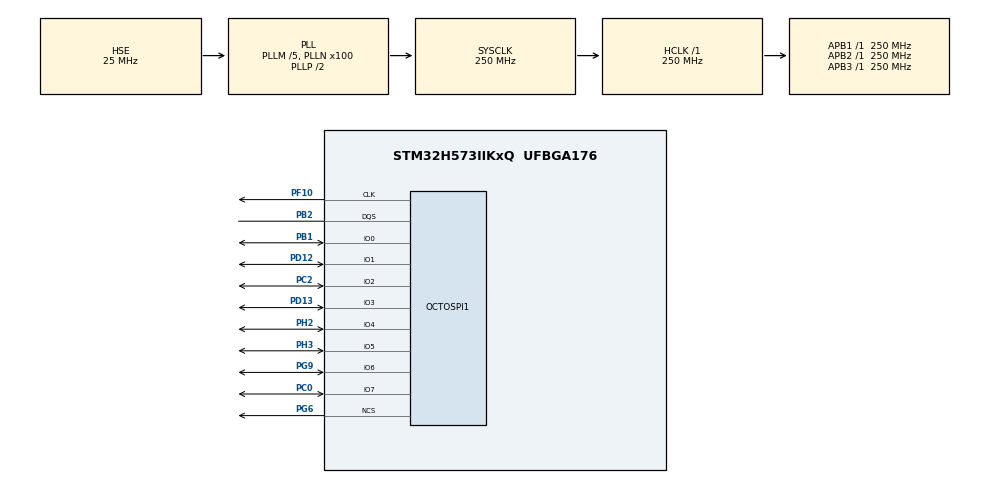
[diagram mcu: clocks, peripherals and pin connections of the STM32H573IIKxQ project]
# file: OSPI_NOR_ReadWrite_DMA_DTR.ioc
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CORTEX_M33_NS.userName=CORTEX_M33
GPDMA1.DESTDATAWIDTH_GPDMACH0=DMA_DEST_DATAWIDTH_WORD
GPDMA1.DESTDATAWIDTH_GPDMACH1=DMA_DEST_DATAWIDTH_WORD
GPDMA1.DESTINC_GPDMACH1=DMA_DINC_INCREMENTED
GPDMA1.DIRECTION_GPDMACH0=DMA_MEMORY_TO_PERIPH
GPDMA1.DMAHANDLE_GPDMACH0=hdmatx
GPDMA1.IPHANDLE_GPDMACH0-SIMPLEREQUEST_GPDMACH0=__NULL
GPDMA1.IPHANDLE_GPDMACH1-SIMPLEREQUEST_GPDMACH1=__NULL
GPDMA1.PRIORITY_GPDMACH0=DMA_LOW_PRIORITY_HIGH_WEIGHT
GPDMA1.REQUEST_GPDMACH0=GPDMA1_REQUEST_OCTOSPI1
GPDMA1.REQUEST_GPDMACH1=GPDMA1_REQUEST_OCTOSPI1
GPDMA1.SRCDATAWIDTH_GPDMACH0=DMA_SRC_DATAWIDTH_WORD
GPDMA1.SRCDATAWIDTH_GPDMACH1=DMA_SRC_DATAWIDTH_WORD
GPDMA1.SRCINC_GPDMACH0=DMA_SINC_INCREMENTED
GPDMA1.TRANSFERALLOCATEDPORTDEST_GPDMACH0=DMA_DEST_ALLOCATED_PORT1
GPDMA1.TRANSFERALLOCATEDPORTSRC_GPDMACH1=DMA_SRC_ALLOCATED_PORT1
Mcu.Family=STM32H5
Mcu.Name=STM32H573IIKxQ
Mcu.Package=UFBGA176
NVIC.GPDMA1_Channel0_IRQn=true\:0\:0\:false\:false\:true\:false\:true\:true
NVIC.GPDMA1_Channel1_IRQn=true\:0\:0\:false\:false\:true\:false\:true\:true
NVIC.OCTOSPI1_IRQn=true\:0\:0\:false\:false\:true\:true\:true\:true
NVIC.PriorityGroup=NVIC_PRIORITYGROUP_4
OCTOSPI1.ChipSelectHighTimeCycle=2
OCTOSPI1.ClockPrescaler=1
OCTOSPI1.DelayBlockBypass=HAL_XSPI_DELAY_BLOCK_ON
OCTOSPI1.DelayHoldQuarterCycle=HAL_XSPI_DHQC_ENABLE
OCTOSPI1.FifoThresholdByte=4
OCTOSPI1.MemorySize=HAL_XSPI_SIZE_8MB
OCTOSPI1.MemoryType=HAL_XSPI_MEMTYPE_MACRONIX
OCTOSPI1.PhaseSel=0
OCTOSPI1.Units=0
PB1.Mode=octods_mode
PB1.Signal=OCTOSPI1_IO0
PB2.Mode=octods_mode
PB2.Signal=OCTOSPI1_DQS
PC0.Mode=octods_mode
PC0.Signal=OCTOSPI1_IO7
PC2.Mode=octods_mode
PC2.Signal=OCTOSPI1_IO2
PD12.Mode=octods_mode
PD12.Signal=OCTOSPI1_IO1
PD13.Mode=octods_mode
PD13.Signal=OCTOSPI1_IO3
PF10.Mode=octods_mode
PF10.Signal=OCTOSPI1_CLK
PG6.Mode=octods_mode
PG6.Signal=OCTOSPI1_NCS
PG9.Mode=octods_mode
PG9.Signal=OCTOSPI1_IO6
PH0-OSC_IN(PH0).Mode=HSE-DIG-External-Clock-Source
PH0-OSC_IN(PH0).Signal=RCC_OSC_IN
PH2.Mode=octods_mode
PH2.Signal=OCTOSPI1_IO4
PH3.Mode=octods_mode
PH3.Signal=OCTOSPI1_IO5
ProjectManager.HeapSize=0x200
ProjectManager.StackSize=0x400
ProjectManager.TargetToolchain=EWARM V9.20
RCC.ADCFreq_Value=250000000
RCC.AHBFreq_Value=250000000
RCC.APB1Freq_Value=250000000
RCC.APB1TimFreq_Value=250000000
RCC.APB2Freq_Value=250000000
RCC.APB2TimFreq_Value=250000000
RCC.APB3Freq_Value=250000000
RCC.CSI_VALUE=4000000
RCC.CortexFreq_Value=250000000
RCC.EPOD_VALUE=25000000
RCC.HCLKFreq_Value=250000000
RCC.HSE_VALUE=25000000
RCC.HSI48_VALUE=48000000
RCC.HSIDiv=RCC_HSI_DIV1
RCC.HSI_VALUE=64000000
RCC.LSE_VALUE=32768
RCC.LSIRC_VALUE=32000
RCC.OCTOSPIMCLockSelection=RCC_OSPICLKSOURCE_PLL2R
RCC.PLL1Q=4
RCC.PLL2M=8
RCC.PLL2N=45
RCC.PLL2Source=RCC_PLL2_SOURCE_HSI
RCC.PLLM=5
RCC.PLLN=100
RCC.PLLSourceVirtual=RCC_PLL1_SOURCE_HSE
RCC.SYSCLKFreq_VALUE=250000000
RCC.SYSCLKSource=RCC_SYSCLKSOURCE_PLLCLK
RCC.USBFreq_Value=48000000
RCC.VCOOutputFreq_Value=500000000
VP_GPDMA1_VS_GPDMACH0.Mode=SIMPLEREQUEST_GPDMACH0
VP_GPDMA1_VS_GPDMACH1.Mode=SIMPLEREQUEST_GPDMACH1
VP_ICACHE_VS_ICACHE.Mode=DefaultMode
VP_PWR_VS_SECSignals.Mode=Security/Privilege
board=custom

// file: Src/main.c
/* USER CODE BEGIN Header */
/**
  ******************************************************************************
  * @file    Examples/DLYB/OSPI_NOR_ReadWrite_DMA_DTR/Src/main.c
  * @author  MCD Application Team
  * @brief   Main program body
  ******************************************************************************
  * @attention
  *
  * Copyright (c) 2023 STMicroelectronics.
  * All rights reserved.
  *
  * This software is licensed under terms that can be found in the LICENSE file
  * in the root directory of this software component.
  * If no LICENSE file comes with this software, it is provided AS-IS.
  *
  ******************************************************************************
  */
/* USER CODE END Header */
#include "main.h"

XSPI_HandleTypeDef hxspi1;
DMA_HandleTypeDef handle_GPDMA1_Channel1;
DMA_HandleTypeDef handle_GPDMA1_Channel0;

/* USER CODE BEGIN PV */
__IO uint8_t CmdCplt, RxCplt, TxCplt;

/* Buffer used for transmission */
uint8_t aTxBuffer[249] = " ****OSPI communication based on DMA****  ****OSPI communication based on DMA****  ****OSPI communication based on DMA****  ****OSPI communication based on DMA****  ****OSPI communication based on DMA****  ****OSPI communication based on DMA**** ";

/* Buffer used for reception */
uint8_t aRxBuffer[BUFFERSIZE];

LL_DLYB_CfgTypeDef dlyb_cfg,dlyb_cfg_test;
/* USER CODE END PV */

void SystemClock_Config(void);
static void MX_GPIO_Init(void);
static void MX_GPDMA1_Init(void);
static void MX_OCTOSPI1_Init(void);
static void MX_ICACHE_Init(void);
/* USER CODE BEGIN PFP */
static void OSPI_WriteEnable(XSPI_HandleTypeDef *hospi);
static void XSPI_AutoPollingMemReady(XSPI_HandleTypeDef *hospi);
static void OSPI_OctalDTRModeCfg(XSPI_HandleTypeDef *hospi);
/* USER CODE END PFP */

int main(void)
{

  /* USER CODE BEGIN 1 */
  /* STM32H5xx HAL library initialization:
       - Systick timer is configured by default as source of time base, but user
             can eventually implement his proper time base source (a general purpose
             timer for example or other time source), keeping in mind that Time base
             duration should be kept 1ms since PPP_TIMEOUT_VALUEs are defined and
             handled in milliseconds basis.
       - Set NVIC Group Priority to 4
       - Low Level Initialization
     */
  /* USER CODE END 1 */

  /* MCU Configuration--------------------------------------------------------*/

  /* Reset of all peripherals, Initializes the Flash interface and the Systick. */
  HAL_Init();

  /* USER CODE BEGIN Init */
  XSPI_RegularCmdTypeDef sCommand = {0};

  uint32_t address = 0;
  __IO uint8_t step = 0;
 uint16_t index;

  /* USER CODE END Init */

  /* Configure the system clock */
  SystemClock_Config();

  /* USER CODE BEGIN SysInit */
  BSP_LED_Init(LED_GREEN);
  BSP_LED_Init(LED_RED);
  /* USER CODE END SysInit */

  /* Initialize all configured peripherals */
  MX_GPIO_Init();
  MX_GPDMA1_Init();
  MX_OCTOSPI1_Init();
  MX_ICACHE_Init();
  /* USER CODE BEGIN 2 */
  /* Delay block configuration ------------------------------------------------ */
  if (HAL_XSPI_DLYB_GetClockPeriod(&hxspi1,&dlyb_cfg) != HAL_OK)
  {
    BSP_LED_On(LED_RED);
  }

  /*when DTR, PhaseSel is divided by 4 (emperic value)*/
  dlyb_cfg.PhaseSel /=4;

  /* save the present configuration for check*/
  dlyb_cfg_test = dlyb_cfg;

  /*set delay block configuration*/
  HAL_XSPI_DLYB_SetConfig(&hxspi1,&dlyb_cfg);

  /*check the set value*/
  HAL_XSPI_DLYB_GetConfig(&hxspi1,&dlyb_cfg);
  if ((dlyb_cfg.PhaseSel != dlyb_cfg_test.PhaseSel) || (dlyb_cfg.Units != dlyb_cfg_test.Units))
  {
    BSP_LED_On(LED_RED);
  }

  /* Configure the memory in octal mode ------------------------------------- */
  OSPI_OctalDTRModeCfg(&hxspi1);

  sCommand.InstructionMode     = HAL_XSPI_INSTRUCTION_8_LINES;
  sCommand.InstructionWidth    = HAL_XSPI_INSTRUCTION_16_BITS;
  sCommand.InstructionDTRMode  = HAL_XSPI_INSTRUCTION_DTR_ENABLE;
  sCommand.AddressWidth        = HAL_XSPI_ADDRESS_32_BITS;
  sCommand.AddressDTRMode      = HAL_XSPI_ADDRESS_DTR_ENABLE;
  sCommand.AlternateBytesMode  = HAL_XSPI_ALT_BYTES_NONE;
  sCommand.DataDTRMode         = HAL_XSPI_DATA_DTR_ENABLE;
  sCommand.SIOOMode            = HAL_XSPI_SIOO_INST_EVERY_CMD;

  /* USER CODE END 2 */

  /* Infinite loop */
  /* USER CODE BEGIN WHILE */
  while (1)
  {
    switch(step)
    {
    case 0:

      CmdCplt = 0;

      /* Enable write operations ------------------------------------------ */
      OSPI_WriteEnable(&hxspi1);

      /* Erasing Sequence ------------------------------------------------- */
      sCommand.OperationType = HAL_XSPI_OPTYPE_COMMON_CFG;
      sCommand.Instruction   = OCTAL_SECTOR_ERASE_CMD;
      sCommand.AddressMode   = HAL_XSPI_ADDRESS_8_LINES;
      sCommand.Address       = address;
      sCommand.DataMode      = HAL_XSPI_DATA_NONE;
      sCommand.DummyCycles   = 0;
      sCommand.DQSMode       = HAL_XSPI_DQS_DISABLE;

      if (HAL_XSPI_Command_IT(&hxspi1, &sCommand) != HAL_OK)
      {
        Error_Handler();
      }

      step++;
      break;
    case 1:
      if(CmdCplt != 0)
      {
          CmdCplt = 0;
          TxCplt = 0;

          /* Configure automatic polling mode to wait for end of erase ------ */
          XSPI_AutoPollingMemReady(&hxspi1);

          /* Enable write operations ---------------------------------------- */
          OSPI_WriteEnable(&hxspi1);

          /* Writing Sequence ----------------------------------------------- */
          sCommand.Instruction = OCTAL_PAGE_PROG_CMD;
          sCommand.DataMode    = HAL_XSPI_DATA_8_LINES;
          sCommand.DataLength  = BUFFERSIZE;

          if (HAL_XSPI_Command(&hxspi1, &sCommand, HAL_XSPI_TIMEOUT_DEFAULT_VALUE) != HAL_OK)
          {
            Error_Handler();
          }

          if (HAL_XSPI_Transmit_DMA(&hxspi1, aTxBuffer) != HAL_OK)
          {
            Error_Handler();
          }

          step++;
        }
        break;

      case 2:
        if(TxCplt != 0)
        {
          TxCplt = 0;
          RxCplt = 0;

          /* Configure automatic polling mode to wait for end of program ---- */
          XSPI_AutoPollingMemReady(&hxspi1);

          /* Reading Sequence ----------------------------------------------- */
          sCommand.Instruction = OCTAL_IO_DTR_READ_CMD;
          sCommand.DummyCycles = DUMMY_CLOCK_CYCLES_READ;
          sCommand.DQSMode     = HAL_XSPI_DQS_ENABLE;

          if (HAL_XSPI_Command(&hxspi1, &sCommand, HAL_XSPI_TIMEOUT_DEFAULT_VALUE) != HAL_OK)
          {
            Error_Handler();
          }

          if (HAL_XSPI_Receive_DMA(&hxspi1, aRxBuffer) != HAL_OK)
          {
            Error_Handler();
          }
          step++;
        }
        break;

      case 3:
        if (RxCplt != 0)
        {
          RxCplt = 0;

          /* Result comparison ----------------------------------------------- */
          for (index = 0; index < BUFFERSIZE; index++)
          {
            if (aRxBuffer[index] != aTxBuffer[index])
            {
              BSP_LED_On(LED2);
            }
          }
          BSP_LED_Toggle(LED1);
          HAL_Delay(50);

          address += OSPI_PAGE_SIZE;
          if(address >= OSPI_END_ADDR)
          {
            address = 0;
          }
          step = 0;
        }
        break;

      default :
        Error_Handler();
    }
    /* USER CODE END WHILE */

  }
}

void SystemClock_Config(void)
{
  RCC_OscInitTypeDef RCC_OscInitStruct = {0};
  RCC_ClkInitTypeDef RCC_ClkInitStruct = {0};

  /** Configure the main internal regulator output voltage
  */
  __HAL_PWR_VOLTAGESCALING_CONFIG(PWR_REGULATOR_VOLTAGE_SCALE0);

  while(!__HAL_PWR_GET_FLAG(PWR_FLAG_VOSRDY)) {}

  /** Initializes the RCC Oscillators according to the specified parameters
  * in the RCC_OscInitTypeDef structure.
  */
  RCC_OscInitStruct.OscillatorType = RCC_OSCILLATORTYPE_HSI|RCC_OSCILLATORTYPE_HSE;
  RCC_OscInitStruct.HSEState = RCC_HSE_BYPASS_DIGITAL;
  RCC_OscInitStruct.HSIState = RCC_HSI_ON;
  RCC_OscInitStruct.HSIDiv = RCC_HSI_DIV1;
  RCC_OscInitStruct.HSICalibrationValue = RCC_HSICALIBRATION_DEFAULT;
  RCC_OscInitStruct.PLL.PLLState = RCC_PLL_ON;
  RCC_OscInitStruct.PLL.PLLSource = RCC_PLL1_SOURCE_HSE;
  RCC_OscInitStruct.PLL.PLLM = 5;
  RCC_OscInitStruct.PLL.PLLN = 100;
  RCC_OscInitStruct.PLL.PLLP = 2;
  RCC_OscInitStruct.PLL.PLLQ = 4;
  RCC_OscInitStruct.PLL.PLLR = 2;
  RCC_OscInitStruct.PLL.PLLRGE = RCC_PLL1_VCIRANGE_2;
  RCC_OscInitStruct.PLL.PLLVCOSEL = RCC_PLL1_VCORANGE_WIDE;
  RCC_OscInitStruct.PLL.PLLFRACN = 0;
  if (HAL_RCC_OscConfig(&RCC_OscInitStruct) != HAL_OK)
  {
    Error_Handler();
  }

  /** Initializes the CPU, AHB and APB buses clocks
  */
  RCC_ClkInitStruct.ClockType = RCC_CLOCKTYPE_HCLK|RCC_CLOCKTYPE_SYSCLK
                              |RCC_CLOCKTYPE_PCLK1|RCC_CLOCKTYPE_PCLK2
                              |RCC_CLOCKTYPE_PCLK3;
  RCC_ClkInitStruct.SYSCLKSource = RCC_SYSCLKSOURCE_PLLCLK;
  RCC_ClkInitStruct.AHBCLKDivider = RCC_SYSCLK_DIV1;
  RCC_ClkInitStruct.APB1CLKDivider = RCC_HCLK_DIV1;
  RCC_ClkInitStruct.APB2CLKDivider = RCC_HCLK_DIV1;
  RCC_ClkInitStruct.APB3CLKDivider = RCC_HCLK_DIV1;

  if (HAL_RCC_ClockConfig(&RCC_ClkInitStruct, FLASH_LATENCY_5) != HAL_OK)
  {
    Error_Handler();
  }

  /** Configure the programming delay
  */
  __HAL_FLASH_SET_PROGRAM_DELAY(FLASH_PROGRAMMING_DELAY_2);
}

static void MX_GPDMA1_Init(void)
{

  /* Peripheral clock enable */
  __HAL_RCC_GPDMA1_CLK_ENABLE();

  /* GPDMA1 interrupt Init */
    HAL_NVIC_SetPriority(GPDMA1_Channel0_IRQn, 0, 0);
    HAL_NVIC_EnableIRQ(GPDMA1_Channel0_IRQn);
    HAL_NVIC_SetPriority(GPDMA1_Channel1_IRQn, 0, 0);
    HAL_NVIC_EnableIRQ(GPDMA1_Channel1_IRQn);

}

static void MX_ICACHE_Init(void)
{

  /** Enable instruction cache (default 2-ways set associative cache)
  */
  if (HAL_ICACHE_Enable() != HAL_OK)
  {
    Error_Handler();
  }

}

static void MX_OCTOSPI1_Init(void)
{

  HAL_XSPI_DLYB_CfgTypeDef HAL_XSPI_DLYB_Cfg_Struct = {0};

  /* OCTOSPI1 parameter configuration*/
  hxspi1.Instance = OCTOSPI1;
  hxspi1.Init.FifoThresholdByte = 4;
  hxspi1.Init.MemoryMode = HAL_XSPI_SINGLE_MEM;
  hxspi1.Init.MemoryType = HAL_XSPI_MEMTYPE_MACRONIX;
  hxspi1.Init.MemorySize = HAL_XSPI_SIZE_8MB;
  hxspi1.Init.ChipSelectHighTimeCycle = 2;
  hxspi1.Init.FreeRunningClock = HAL_XSPI_FREERUNCLK_DISABLE;
  hxspi1.Init.ClockMode = HAL_XSPI_CLOCK_MODE_0;
  hxspi1.Init.WrapSize = HAL_XSPI_WRAP_NOT_SUPPORTED;
  hxspi1.Init.ClockPrescaler = 1;
  hxspi1.Init.SampleShifting = HAL_XSPI_SAMPLE_SHIFT_NONE;
  hxspi1.Init.DelayHoldQuarterCycle = HAL_XSPI_DHQC_ENABLE;
  hxspi1.Init.ChipSelectBoundary = HAL_XSPI_BONDARYOF_NONE;
  hxspi1.Init.DelayBlockBypass = HAL_XSPI_DELAY_BLOCK_ON;
  hxspi1.Init.Refresh = 0;
  if (HAL_XSPI_Init(&hxspi1) != HAL_OK)
  {
    Error_Handler();
  }
  HAL_XSPI_DLYB_Cfg_Struct.Units = 0;
  HAL_XSPI_DLYB_Cfg_Struct.PhaseSel = 0;
  if (HAL_XSPI_DLYB_SetConfig(&hxspi1, &HAL_XSPI_DLYB_Cfg_Struct) != HAL_OK)
  {
    Error_Handler();
  }

}

static void MX_GPIO_Init(void)
{

  /* GPIO Ports Clock Enable */
  __HAL_RCC_GPIOG_CLK_ENABLE();
  __HAL_RCC_GPIOH_CLK_ENABLE();
  __HAL_RCC_GPIOF_CLK_ENABLE();
  __HAL_RCC_GPIOC_CLK_ENABLE();
  __HAL_RCC_GPIOD_CLK_ENABLE();
  __HAL_RCC_GPIOB_CLK_ENABLE();

}

/* USER CODE BEGIN 4 */
/**
  * @brief  Command completed callback.
  * @param  hospi: OSPI handle
  * @retval None
  */
void HAL_XSPI_CmdCpltCallback(XSPI_HandleTypeDef *hospi)
{
  CmdCplt++;
}

/**
  * @brief  Rx Transfer completed callback.
  * @param  hospi: OSPI handle
  * @retval None
  */
void HAL_XSPI_RxCpltCallback(XSPI_HandleTypeDef *hospi)
{
  RxCplt++;
}

/**
  * @brief  Tx Transfer completed callback.
  * @param  hospi: OSPI handle
  * @retval None
  */
 void HAL_XSPI_TxCpltCallback(XSPI_HandleTypeDef *hospi)
{
  TxCplt++;
}

/**
  * @brief  Transfer Error callback.
  * @param  hospi: OSPI handle
  * @retval None
  */
void HAL_XSPI_ErrorCallback(XSPI_HandleTypeDef *hospi)
{
  Error_Handler();
}

/**
* @brief  This function send a Write Enable and wait it is effective.
* @param  hospi: OSPI handle
* @retval None
*/
static void OSPI_WriteEnable(XSPI_HandleTypeDef *hospi)
{
  XSPI_RegularCmdTypeDef  sCommand ={0};
  XSPI_AutoPollingTypeDef sConfig  ={0};

  /* Enable write operations ------------------------------------------ */
  sCommand.OperationType      = HAL_XSPI_OPTYPE_COMMON_CFG;
  sCommand.Instruction        = OCTAL_WRITE_ENABLE_CMD;
  sCommand.InstructionMode    = HAL_XSPI_INSTRUCTION_8_LINES;
  sCommand.InstructionWidth   = HAL_XSPI_INSTRUCTION_16_BITS;
  sCommand.InstructionDTRMode = HAL_XSPI_INSTRUCTION_DTR_ENABLE;
  sCommand.AddressMode        = HAL_XSPI_ADDRESS_NONE;
  sCommand.AlternateBytesMode = HAL_XSPI_ALT_BYTES_NONE;
  sCommand.DataMode           = HAL_XSPI_DATA_NONE;
  sCommand.DummyCycles        = 0;
  sCommand.DQSMode            = HAL_XSPI_DQS_DISABLE;
  sCommand.SIOOMode           = HAL_XSPI_SIOO_INST_EVERY_CMD;

  if (HAL_XSPI_Command(hospi, &sCommand, HAL_XSPI_TIMEOUT_DEFAULT_VALUE) != HAL_OK)
  {
    Error_Handler();
  }

  /* Configure automatic polling mode to wait for write enabling ---- */
  sCommand.Instruction    = OCTAL_READ_STATUS_REG_CMD;
  sCommand.Address        = 0x0;
  sCommand.AddressMode    = HAL_XSPI_ADDRESS_8_LINES;
  sCommand.AddressWidth   = HAL_XSPI_ADDRESS_32_BITS;
  sCommand.AddressDTRMode = HAL_XSPI_ADDRESS_DTR_ENABLE;
  sCommand.DataMode       = HAL_XSPI_DATA_8_LINES;
  sCommand.DataDTRMode    = HAL_XSPI_DATA_DTR_ENABLE;
  sCommand.DataLength         = 2;
  sCommand.DummyCycles    = DUMMY_CLOCK_CYCLES_READ_REG;
  sCommand.DQSMode        = HAL_XSPI_DQS_ENABLE;

  if (HAL_XSPI_Command(hospi, &sCommand, HAL_XSPI_TIMEOUT_DEFAULT_VALUE) != HAL_OK)
  {
    Error_Handler();
  }

  sConfig.MatchValue    = WRITE_ENABLE_MATCH_VALUE;
  sConfig.MatchMask     = WRITE_ENABLE_MASK_VALUE;
  sConfig.MatchMode     = HAL_XSPI_MATCH_MODE_AND;
  sConfig.IntervalTime           = AUTO_POLLING_INTERVAL;
  sConfig.AutomaticStop = HAL_XSPI_AUTOMATIC_STOP_ENABLE;

  if (HAL_XSPI_AutoPolling(hospi, &sConfig, HAL_XSPI_TIMEOUT_DEFAULT_VALUE) != HAL_OK)
  {
    Error_Handler();
  }
}

/**
* @brief  This function read the SR of the memory and wait the EOP.
* @param  hospi: OSPI handle
* @retval None
*/
static void XSPI_AutoPollingMemReady(XSPI_HandleTypeDef *hospi)
{
  XSPI_RegularCmdTypeDef  sCommand = {0};
  XSPI_AutoPollingTypeDef sConfig = {0};

  /* Configure automatic polling mode to wait for memory ready ------ */
  sCommand.OperationType      = HAL_XSPI_OPTYPE_COMMON_CFG;

  sCommand.Instruction        = OCTAL_READ_STATUS_REG_CMD;
  sCommand.InstructionMode    = HAL_XSPI_INSTRUCTION_8_LINES;
  sCommand.InstructionWidth   = HAL_XSPI_INSTRUCTION_16_BITS;
  sCommand.InstructionDTRMode = HAL_XSPI_INSTRUCTION_DTR_ENABLE;
  sCommand.Address            = 0x0;
  sCommand.AddressMode        = HAL_XSPI_ADDRESS_8_LINES;
  sCommand.AddressWidth       = HAL_XSPI_ADDRESS_32_BITS;
  sCommand.AddressDTRMode     = HAL_XSPI_ADDRESS_DTR_ENABLE;
  sCommand.AlternateBytesMode = HAL_XSPI_ALT_BYTES_NONE;
  sCommand.DataMode           = HAL_XSPI_DATA_8_LINES;
  sCommand.DataDTRMode        = HAL_XSPI_DATA_DTR_ENABLE;
  sCommand.DataLength         = 2;
  sCommand.DummyCycles        = DUMMY_CLOCK_CYCLES_READ_REG;
  sCommand.DQSMode            = HAL_XSPI_DQS_ENABLE;
  sCommand.SIOOMode           = HAL_XSPI_SIOO_INST_EVERY_CMD;

  if (HAL_XSPI_Command(hospi, &sCommand, HAL_XSPI_TIMEOUT_DEFAULT_VALUE) != HAL_OK)
  {
    Error_Handler();
  }

  sConfig.MatchValue         = MEMORY_READY_MATCH_VALUE;
  sConfig.MatchMask          = MEMORY_READY_MASK_VALUE;
  sConfig.MatchMode          = HAL_XSPI_MATCH_MODE_AND;
  sConfig.IntervalTime       = AUTO_POLLING_INTERVAL;
  sConfig.AutomaticStop      = HAL_XSPI_AUTOMATIC_STOP_ENABLE;

  if (HAL_XSPI_AutoPolling(hospi, &sConfig, HAL_XSPI_TIMEOUT_DEFAULT_VALUE) != HAL_OK)
  {
    Error_Handler();
  }
}

/**
* @brief  This function configure the memory in Octal DTR mode.
* @param  hospi: OSPI handle
* @retval None
*/
static void OSPI_OctalDTRModeCfg(XSPI_HandleTypeDef *hospi)
{
  XSPI_RegularCmdTypeDef  sCommand ={0};
  XSPI_AutoPollingTypeDef sConfig ={0};
  uint8_t reg;

  /* Enable write operations ---------------------------------------- */
  sCommand.OperationType      = HAL_XSPI_OPTYPE_COMMON_CFG;

  sCommand.Instruction        = WRITE_ENABLE_CMD;
  sCommand.InstructionMode    = HAL_XSPI_INSTRUCTION_1_LINE;
  sCommand.InstructionWidth   = HAL_XSPI_INSTRUCTION_8_BITS;
  sCommand.InstructionDTRMode = HAL_XSPI_INSTRUCTION_DTR_DISABLE;
  sCommand.AddressMode        = HAL_XSPI_ADDRESS_NONE;
  sCommand.AlternateBytesMode = HAL_XSPI_ALT_BYTES_NONE;
  sCommand.DataMode           = HAL_XSPI_DATA_NONE;
  sCommand.DummyCycles        = 0;
  sCommand.DQSMode            = HAL_XSPI_DQS_DISABLE;
  sCommand.SIOOMode           = HAL_XSPI_SIOO_INST_EVERY_CMD;

  if (HAL_XSPI_Command(hospi, &sCommand, HAL_XSPI_TIMEOUT_DEFAULT_VALUE) != HAL_OK)
  {
    Error_Handler();
  }

  /* Configure automatic polling mode to wait for write enabling ---- */
  sCommand.Instruction = READ_STATUS_REG_CMD;
  sCommand.DataMode    = HAL_XSPI_DATA_1_LINE;
  sCommand.DataDTRMode = HAL_XSPI_DATA_DTR_DISABLE;
  sCommand.DataLength  = 1;

  if (HAL_XSPI_Command(hospi, &sCommand, HAL_XSPI_TIMEOUT_DEFAULT_VALUE) != HAL_OK)
  {
    Error_Handler();
  }

  sConfig.MatchValue         = WRITE_ENABLE_MATCH_VALUE;
  sConfig.MatchMask          = WRITE_ENABLE_MASK_VALUE;
  sConfig.MatchMode          = HAL_XSPI_MATCH_MODE_AND;
  sConfig.IntervalTime       = AUTO_POLLING_INTERVAL;
  sConfig.AutomaticStop      = HAL_XSPI_AUTOMATIC_STOP_ENABLE;

  if (HAL_XSPI_AutoPolling(hospi, &sConfig, HAL_XSPI_TIMEOUT_DEFAULT_VALUE) != HAL_OK)
  {
    Error_Handler();
  }

  /* Write Configuration register 2 (with new dummy cycles) --------- */
  sCommand.Instruction    = WRITE_CFG_REG_2_CMD;
  sCommand.Address        = CONFIG_REG2_ADDR3;
  sCommand.AddressMode    = HAL_XSPI_ADDRESS_1_LINE;
  sCommand.AddressWidth    = HAL_XSPI_ADDRESS_32_BITS;
  sCommand.AddressDTRMode = HAL_XSPI_ADDRESS_DTR_DISABLE;

  if (HAL_XSPI_Command(hospi, &sCommand, HAL_XSPI_TIMEOUT_DEFAULT_VALUE) != HAL_OK)
  {
    Error_Handler();
  }

  reg = CR2_DUMMY_CYCLES_66MHZ;

  if (HAL_XSPI_Transmit(hospi, &reg, HAL_XSPI_TIMEOUT_DEFAULT_VALUE) != HAL_OK)
  {
    Error_Handler();
  }

  /* Wait that the memory is ready ---------------------------------- */
  sCommand.Instruction = READ_STATUS_REG_CMD;
  sCommand.AddressMode = HAL_XSPI_ADDRESS_NONE;

  if (HAL_XSPI_Command(hospi, &sCommand, HAL_XSPI_TIMEOUT_DEFAULT_VALUE) != HAL_OK)
  {
    Error_Handler();
  }

  sConfig.MatchValue = MEMORY_READY_MATCH_VALUE;
  sConfig.MatchMask  = MEMORY_READY_MASK_VALUE;

  if (HAL_XSPI_AutoPolling(hospi, &sConfig, HAL_XSPI_TIMEOUT_DEFAULT_VALUE) != HAL_OK)
  {
    Error_Handler();
  }

  /* Enable write operations ---------------------------------------- */
  sCommand.Instruction = WRITE_ENABLE_CMD;
  sCommand.DataMode    = HAL_XSPI_DATA_NONE;

  if (HAL_XSPI_Command(hospi, &sCommand, HAL_XSPI_TIMEOUT_DEFAULT_VALUE) != HAL_OK)
  {
    Error_Handler();
  }

  /* Configure automatic polling mode to wait for write enabling ---- */
  sCommand.Instruction = READ_STATUS_REG_CMD;
  sCommand.DataMode    = HAL_XSPI_DATA_1_LINE;

  if (HAL_XSPI_Command(hospi, &sCommand, HAL_XSPI_TIMEOUT_DEFAULT_VALUE) != HAL_OK)
  {
    Error_Handler();
  }

  sConfig.MatchValue = WRITE_ENABLE_MATCH_VALUE;
  sConfig.MatchMask  = WRITE_ENABLE_MASK_VALUE;

  if (HAL_XSPI_AutoPolling(hospi, &sConfig, HAL_XSPI_TIMEOUT_DEFAULT_VALUE) != HAL_OK)
  {
    Error_Handler();
  }

  /* Write Configuration register 2 (with octal mode) --------------- */
  sCommand.Instruction = WRITE_CFG_REG_2_CMD;
  sCommand.Address     = CONFIG_REG2_ADDR1;
  sCommand.AddressMode = HAL_XSPI_ADDRESS_1_LINE;

  if (HAL_XSPI_Command(hospi, &sCommand, HAL_XSPI_TIMEOUT_DEFAULT_VALUE) != HAL_OK)
  {
    Error_Handler();
  }

  reg = CR2_DTR_OPI_ENABLE;

  if (HAL_XSPI_Transmit(hospi, &reg, HAL_XSPI_TIMEOUT_DEFAULT_VALUE) != HAL_OK)
  {
    Error_Handler();
  }

  /* Wait that the configuration is effective and check that memory is ready */
  HAL_Delay(MEMORY_REG_WRITE_DELAY);

  /* Wait that the memory is ready ---------------------------------- */
  XSPI_AutoPollingMemReady(hospi);
}

/* USER CODE END 4 */

void Error_Handler(void)
{
  /* USER CODE BEGIN Error_Handler_Debug */
  /* User can add his own implementation to report the HAL error return state */
  while (1)
  {
    HAL_Delay(100);
    BSP_LED_Toggle(LED_RED);
  }
  /* USER CODE END Error_Handler_Debug */
}
